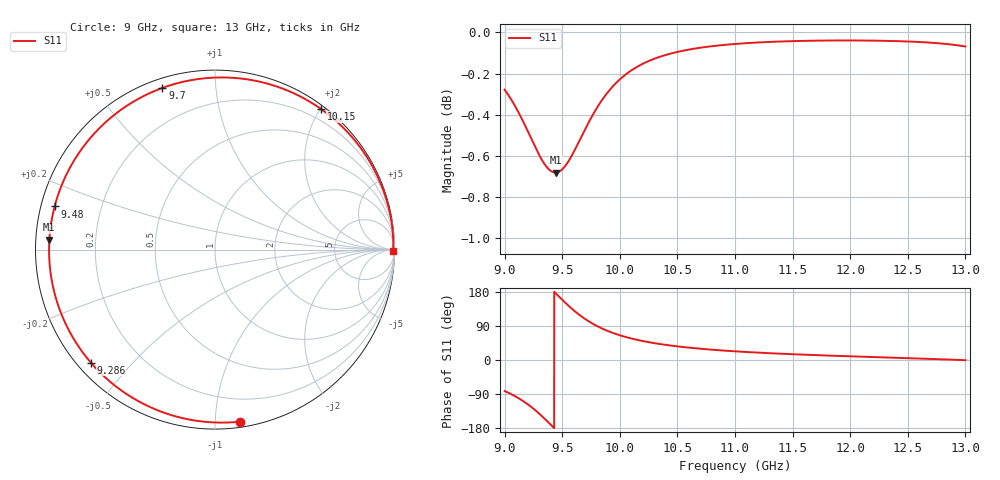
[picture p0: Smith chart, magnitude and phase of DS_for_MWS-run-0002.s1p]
! TOUCHSTONE file generated by CST DESIGN STUDIO
! Date and time: Tue Feb  4 14:31:26 2025
! Project name: C:\Work\MatlabApps\UnitCellOptimizationMatlab\CST\unitcell.cst
! Tree item: Tasks\Sweep1\SPara1\S-Parameters
! Header version: 2024
! Port assignment regex: !\s*Touchstone port\s*([0-9]+)\s*=\s*(CST MWS port|CST DES external port|CST DES block port)\s*(.+)\s* \(\"(.*)\"\)(\s*mode\s*([0-9]+))?.*
! Touchstone port assignment:
! Touchstone port 1 = CST DES external port 1 ("")
# GHz S MA R 50
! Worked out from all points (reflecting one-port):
!   4001 points, 9 GHz to 13 GHz, reference 50 ohm
!   lowest |S11| = -0.7 dB at 9.442 GHz (marker M1), VSWR 25.51, Z = 1.96 + j1.51 ohm
!   phase of S11 starts at -82 deg and turns -279 deg over the sweep
!   S11 on the Smith chart (normalised r, x): 9 GHz: 0.04, -1.15; 9.286 GHz: 0.04, -0.39; 9.48 GHz: 0.04, +0.13; 9.7 GHz: 0.04, +0.73; 10.15 GHz: 0.05, +2.00; 13 GHz: open
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9  0.9685 -81.9
9.087  0.96 -94.8
9.159  0.9516 -108.0
9.224  0.9432 -122.2
9.286  0.9353 -137.7
9.33  0.9305 -149.9
9.369  0.9272 -161.3
9.406  0.9252 -172.4
9.442  0.9245 176.5
9.48  0.9253 165.0
9.5  0.9262 159.0
9.552  0.9302 143.9
9.6  0.9353 131.1
9.649  0.9411 119.1
9.7  0.9474 108.0
9.768  0.9552 95.2
9.848  0.9631 82.8
9.922  0.969 73.4
10  0.974 65.3
10.152  0.981 53.1
10.31  0.9856 43.9
10.5  0.9891 35.9
10.723  0.9917 29.1
11  0.9935 22.9
11.5  0.9951 15.2
12  0.9955 9.7
12.5  0.9949 4.9
13  0.9921 -0.5
